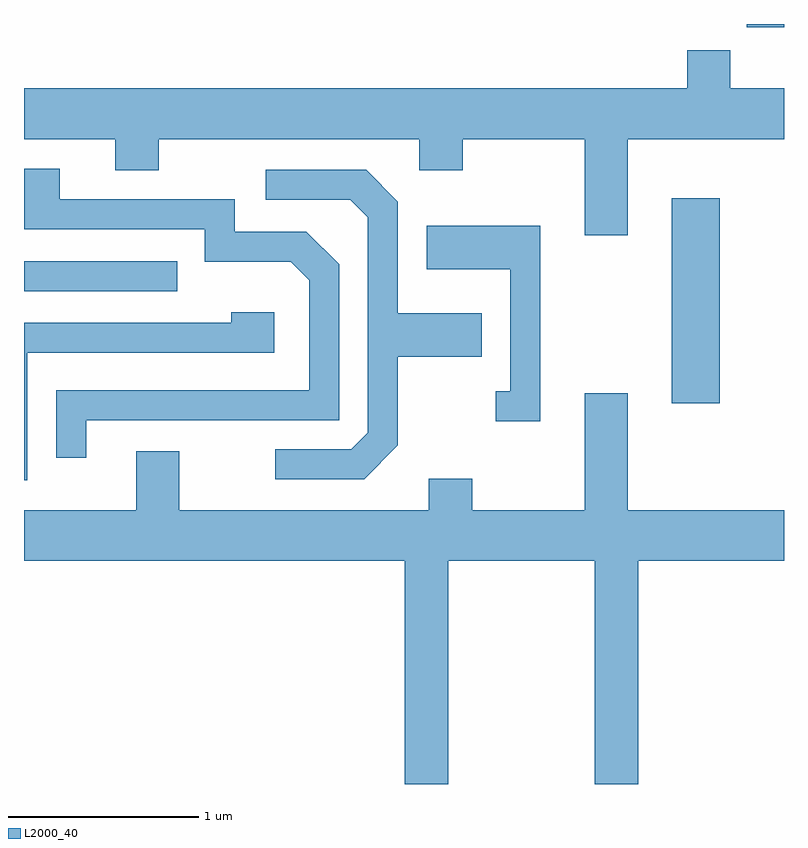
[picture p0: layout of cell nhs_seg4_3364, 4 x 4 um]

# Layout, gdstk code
import gdstk
lib = gdstk.Library(unit=1e-6, precision=1e-09)
def R(c, l, rs):  # rectangles x0, y0, x1, y1
    for r in rs: c.add(gdstk.rectangle(r[:2], r[2:], *l))
def P(c, l, *ps):  # polygons
    for p in ps: c.add(gdstk.Polygon(p, *l))
L2000_40 = (2000, 40)

nhs_seg4_3364 = lib.new_cell('nhs_seg4_3364')
R(nhs_seg4_3364, L2000_40, [(287.021,1319.986,287.274,1321.064), (283.611,1320.576,284.418,1320.734), (287.416,1321.966,287.611,1321.982)])
P(nhs_seg4_3364, L2000_40, [(286.789,1321.376),(287.611,1321.376),(287.611,1321.644),(287.329,1321.644),(287.329,1321.844),(287.101,1321.844),(287.101,1321.644),(283.611,1321.644),(283.611,1321.376),(284.091,1321.376),(284.091,1321.211),(284.319,1321.211),(284.319,1321.376),(285.691,1321.376),(285.691,1321.211),(285.919,1321.211),(285.919,1321.376),(286.561,1321.376),(286.561,1320.871),(286.789,1320.871)],
  [(283.939,1319.896),(285.269,1319.896),(285.269,1320.717),(285.097,1320.889),(284.719,1320.889),(284.719,1321.059),(283.799,1321.059),(283.799,1321.219),(283.611,1321.219),(283.611,1320.901),(284.561,1320.901),(284.561,1320.731),(285.014,1320.731),(285.111,1320.634),(285.111,1320.054),(283.781,1320.054),(283.781,1319.698),(283.939,1319.698)],
  [(285.579,1319.764),(285.579,1320.231),(286.019,1320.231),(286.019,1320.459),(285.579,1320.459),(285.579,1321.047),(285.412,1321.214),(284.883,1321.214),(284.883,1321.056),(285.329,1321.056),(285.421,1320.964),(285.421,1319.832),(285.334,1319.744),(284.933,1319.744),(284.933,1319.586),(285.402,1319.586)],
  [(286.329,1320.919),(285.731,1320.919),(285.731,1320.691),(286.171,1320.691),(286.171,1320.049),(286.093,1320.049),(286.093,1319.891),(286.329,1319.891)],
  [(283.629,1320.251),(284.929,1320.251),(284.929,1320.464),(284.701,1320.464),(284.701,1320.409),(283.611,1320.409),(283.611,1319.581),(283.629,1319.581)],
  [(285.844,1319.156),(286.616,1319.156),(286.616,1317.982),(286.844,1317.982),(286.844,1319.156),(287.611,1319.156),(287.611,1319.424),(286.789,1319.424),(286.789,1320.039),(286.561,1320.039),(286.561,1319.424),(285.969,1319.424),(285.969,1319.589),(285.741,1319.589),(285.741,1319.424),(284.429,1319.424),(284.429,1319.734),(284.201,1319.734),(284.201,1319.424),(283.611,1319.424),(283.611,1319.156),(285.616,1319.156),(285.616,1317.982),(285.844,1317.982)])

lib.write_gds('nhs_seg4_3364.gds')
